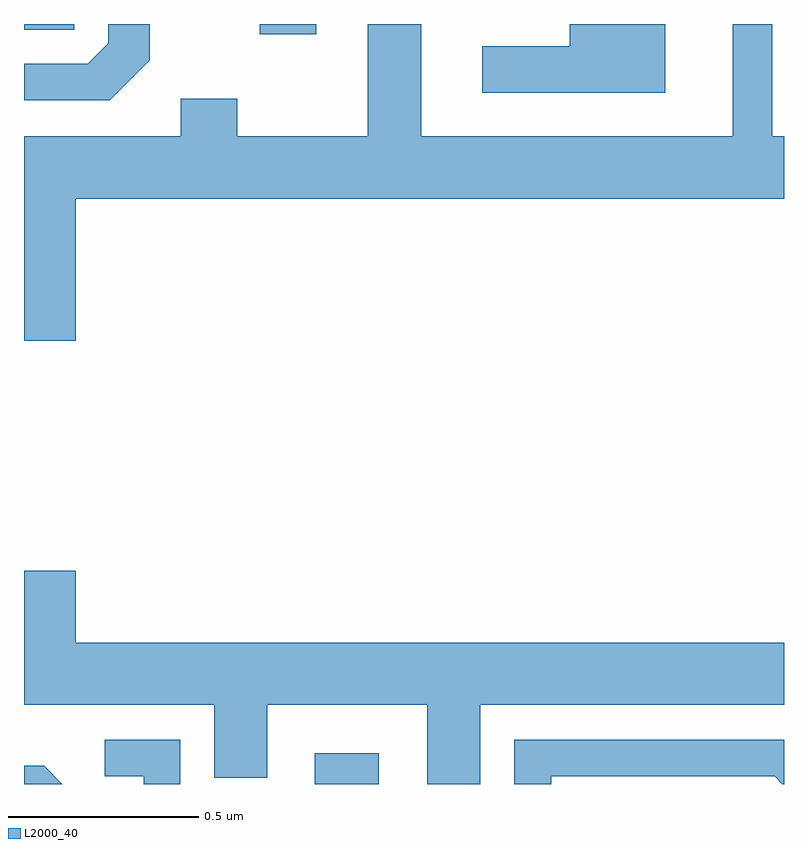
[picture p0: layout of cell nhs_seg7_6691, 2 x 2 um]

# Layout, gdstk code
import gdstk
lib = gdstk.Library(unit=1e-6, precision=1e-09)
def R(c, l, rs):  # rectangles x0, y0, x1, y1
    for r in rs: c.add(gdstk.rectangle(r[:2], r[2:], *l))
def P(c, l, *ps):  # polygons
    for p in ps: c.add(gdstk.Polygon(p, *l))
L2000_40 = (2000, 40)

nhs_seg7_6691 = lib.new_cell('nhs_seg7_6691')
R(nhs_seg7_6691, L2000_40, [(201.765,1075,201.934,1075.081), (201.621,1076.973,201.769,1077), (201,1076.985,201.132,1077)])
P(nhs_seg7_6691, L2000_40, [(201.136,1076.54),(203,1076.54),(203,1076.704),(202.969,1076.704),(202.969,1077),(202.865,1077),(202.865,1076.704),(202.045,1076.704),(202.045,1077),(201.905,1077),(201.905,1076.704),(201.561,1076.704),(201.561,1076.803),(201.413,1076.803),(201.413,1076.704),(201,1076.704),(201,1076.166),(201.136,1076.166)],
  [(202.687,1077),(202.436,1077),(202.436,1076.941),(202.206,1076.941),(202.206,1076.819),(202.687,1076.819)],
  [(201.331,1076.905),(201.331,1077),(201.222,1077),(201.222,1076.949),(201.168,1076.895),(201,1076.895),(201,1076.799),(201.225,1076.799)],
  [(202.201,1075.208),(203,1075.208),(203,1075.372),(201.136,1075.372),(201.136,1075.561),(201,1075.561),(201,1075.208),(201.5,1075.208),(201.5,1075.016),(201.64,1075.016),(201.64,1075.208),(202.061,1075.208),(202.061,1075),(202.201,1075)],
  [(202.387,1075.02),(202.975,1075.02),(202.995,1075),(203,1075),(203,1075.116),(202.29,1075.116),(202.29,1075),(202.387,1075)],
  [(201.411,1075.116),(201.213,1075.116),(201.213,1075.02),(201.315,1075.02),(201.315,1075),(201.411,1075)],
  [(201.053,1075.048),(201,1075.048),(201,1075),(201.1,1075)])

lib.write_gds('nhs_seg7_6691.gds')
